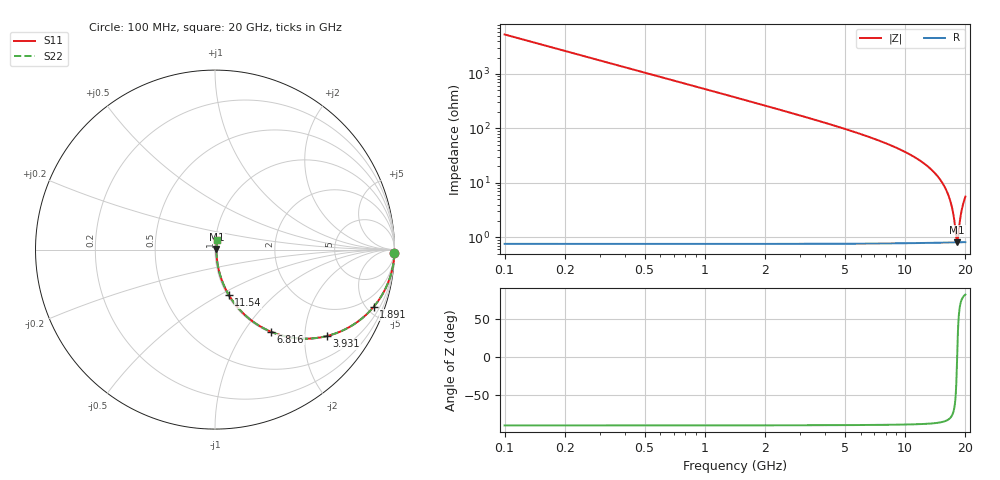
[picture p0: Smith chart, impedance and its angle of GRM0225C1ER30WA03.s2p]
!Murata Part Number: GRM0225C1ER30WA03
!These Parameters are Measured in Series Mode Connection
!Data Generated on Mar 30, 2021
!  o--ll--o
!Port1  Port2
!  o------o
!Operation Temp=25[degC], DC Bias Voltage=0[V]
!Freq. Start=100[MHz] Stop=20[GHz] 401[Steps]
# Hz S RI R 50
!Freq.(Hz) S11(Real) S11(Imag) S21(Real) S21(Imag) S12(Real) S12(Imag) S22(Real) S22(Imag)
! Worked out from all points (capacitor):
!   401 points, 100 MHz to 20 GHz, reference 50 ohm
!   read as one part in series: C = 300 fF near 199.5 MHz
!   lowest |Z| = 813 mohm at 18.21 GHz (marker M1)
!   series resonance near 18.19 GHz, so ESL is about 260 pH
!   S11 on the Smith chart (normalised r, x): 100 MHz: open; 1.891 GHz: 1.02, -5.55; 3.931 GHz: 1.02, -2.57; 6.816 GHz: 1.02, -1.34; 11.54 GHz: 1.02, -0.55; 20 GHz: 1.02, +0.11
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1e8  0.9996 -0.0188  0.000358 0.0188  0.000358 0.0188  0.9996 -0.0188
3.4875e8  0.9957 -0.0655  0.00434 0.0655  0.00434 0.0655  0.9957 -0.0655
6.4725e8  0.9852 -0.1203  0.0148 0.1203  0.0148 0.1203  0.9852 -0.1203
1.14475e9  0.9549 -0.2068  0.0451 0.2068  0.0451 0.2068  0.9549 -0.2068
1.891e9  0.8844 -0.3184  0.1156 0.3184  0.1156 0.3184  0.8844 -0.3184
3.43325e9  0.6886 -0.4605  0.3114 0.4605  0.3114 0.4605  0.6886 -0.4605
3.93075e9  0.6227 -0.4818  0.3773 0.4818  0.3773 0.4818  0.6227 -0.4818
6.7665e9  0.3153 -0.459  0.6847 0.459  0.6847 0.459  0.3153 -0.459
6.81625e9  0.3112 -0.4573  0.6888 0.4573  0.6888 0.4573  0.3112 -0.4573
1.005e10  0.1237 -0.3188  0.8763 0.3188  0.8763 0.3188  0.1237 -0.3188
1.15425e10  0.0763 -0.2515  0.9237 0.2515  0.9237 0.2515  0.0763 -0.2515
1.338325e10  0.0391 -0.1732  0.9609 0.1732  0.9609 0.1732  0.0391 -0.1732
1.537325e10  0.0173 -0.0961  0.9827 0.0961  0.9827 0.0961  0.0173 -0.0961
1.67165e10  0.0104 -0.0484  0.9896 0.0484  0.9896 0.0484  0.0104 -0.0484
1.7413e10  0.00864 -0.025  0.9914 0.025  0.9914 0.025  0.00864 -0.025
1.77115e10  0.00826 -0.0153  0.9917 0.0153  0.9917 0.0153  0.00826 -0.0153
1.805975e10  0.00805 -0.00412  0.9919 0.00412  0.9919 0.00412  0.00805 -0.00412
1.8209e10  0.00804 0.000595  0.992 -0.000595  0.992 -0.000595  0.00804 0.000595
1.83085e10  0.00806 0.00372  0.9919 -0.00372  0.9919 -0.00372  0.00806 0.00372
1.905475e10  0.00878 0.0266  0.9912 -0.0266  0.9912 -0.0266  0.00878 0.0266
1.95025e10  0.00969 0.0399  0.9903 -0.0399  0.9903 -0.0399  0.00969 0.0399
2e10  0.0111 0.0543  0.9889 -0.0543  0.9889 -0.0543  0.0111 0.0543
